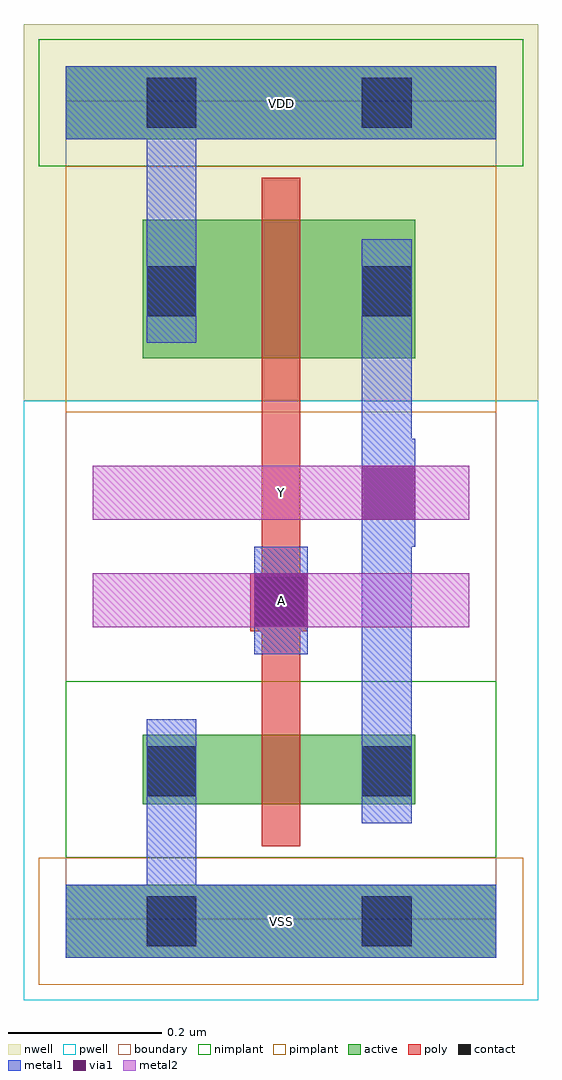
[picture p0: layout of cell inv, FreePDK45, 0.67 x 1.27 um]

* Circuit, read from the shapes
.subckt inv A VDD VSS Y
M1 Y A VSS VSS nfet w=0.09u l=0.05u
M2 Y A VDD VDD pfet w=0.18u l=0.05u
.ends

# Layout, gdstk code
import gdstk
lib = gdstk.Library(unit=1e-6, precision=5e-10)
def R(c, l, rs):  # rectangles x0, y0, x1, y1
    for r in rs: c.add(gdstk.rectangle(r[:2], r[2:], *l))
active = (1, 0)
pwell = (2, 0)
nwell = (3, 0)
nimplant = (4, 0)
pimplant = (5, 0)
poly = (9, 0)
contact = (10, 0)
metal1 = (11, 0)
via1 = (12, 0)
metal2 = (13, 0)
boundary = (235, 0)

inv = lib.new_cell('inv')
R(inv, active, [(0,-0.05,0.56,0.045), (0.1,0.15,0.455,0.24), (0.1,0.73,0.455,0.91), (0,1.015,0.56,1.11)])
R(inv, pwell, [(-0.055,-0.105,0.615,0.675)])
R(inv, nwell, [(-0.055,0.675,0.615,1.165)])
R(inv, nimplant, [(0,0.08,0.56,0.31), (-0.035,0.98,0.595,1.145)])
R(inv, pimplant, [(-0.035,-0.085,0.595,0.08), (0,0.66,0.56,0.98)])
R(inv, poly, [(0.255,0.095,0.305,0.295), (0.255,0.295,0.305,0.675), (0.24,0.375,0.315,0.45), (0.255,0.675,0.305,0.965)])
R(inv, contact, [(0.105,-0.035,0.17,0.03), (0.385,-0.035,0.45,0.03), (0.105,0.16,0.17,0.225), (0.385,0.16,0.45,0.225), (0.245,0.38,0.31,0.445), (0.105,0.785,0.17,0.85), (0.385,0.785,0.45,0.85), (0.105,1.03,0.17,1.095), (0.385,1.03,0.45,1.095)])
R(inv, metal1, [(0,-0.05,0.56,0.045), (0.105,0,0.17,0.125), (0.105,0.125,0.17,0.26), (0.385,0.125,0.45,0.26), (0.385,0.26,0.45,0.555), (0.245,0.345,0.315,0.485), (0.385,0.485,0.455,0.625), (0.385,0.485,0.455,0.625), (0.385,0.555,0.45,0.75), (0.105,0.75,0.17,0.885), (0.385,0.75,0.45,0.885), (0.105,0.885,0.17,1.065), (0,1.015,0.56,1.11)])
R(inv, via1, [(0.245,0.38,0.315,0.45), (0.385,0.52,0.455,0.59), (0.385,0.52,0.455,0.59)])
R(inv, metal2, [(0.035,0.38,0.525,0.45), (0.21,0.38,0.35,0.45), (0.035,0.52,0.525,0.59), (0.35,0.52,0.49,0.59), (0.35,0.52,0.49,0.59)])
R(inv, boundary, [(0,0,0.56,1.065)])
inv.add(gdstk.Label('Y', (0.28,0.555), layer=13, texttype=1))
inv.add(gdstk.Label('A', (0.28,0.415), layer=13, texttype=1))
inv.add(gdstk.Label('VSS', (0.28,-0.003), layer=11, texttype=1))
inv.add(gdstk.Label('VDD', (0.28,1.062), layer=11, texttype=1))

lib.write_gds('inv.gds')
